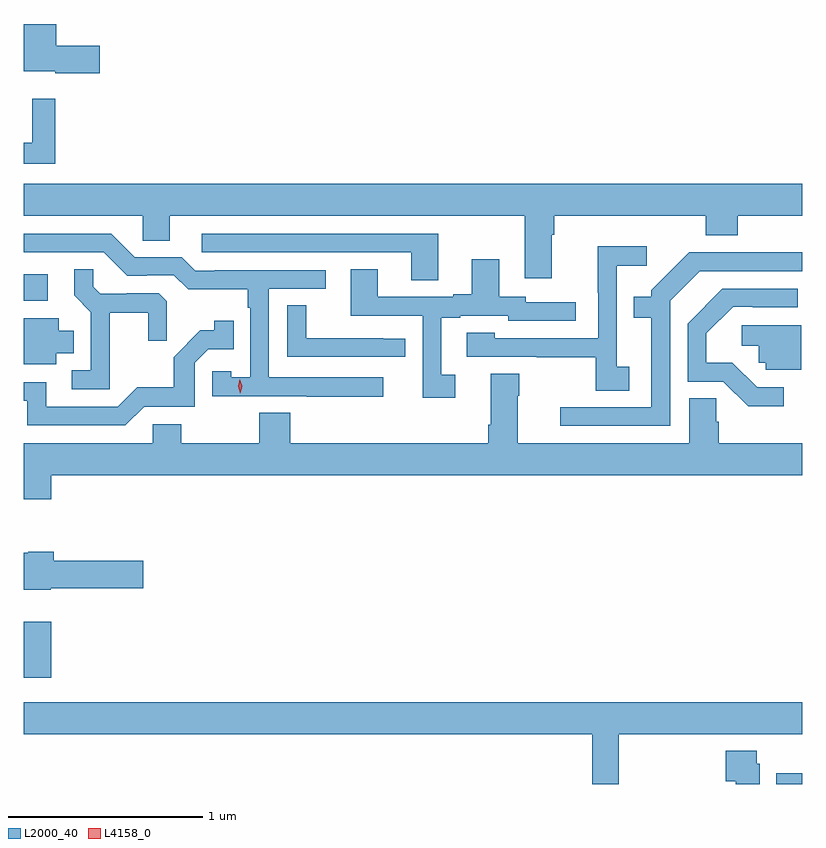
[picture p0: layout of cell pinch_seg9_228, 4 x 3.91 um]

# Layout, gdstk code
import gdstk
lib = gdstk.Library(unit=1e-6, precision=1e-09)
def R(c, l, rs):  # rectangles x0, y0, x1, y1
    for r in rs: c.add(gdstk.rectangle(r[:2], r[2:], *l))
def P(c, l, *ps):  # polygons
    for p in ps: c.add(gdstk.Polygon(p, *l))
L2000_40 = (2000, 40)
L4158_0 = (4158, 0)

pinch_seg9_228 = lib.new_cell('pinch_seg9_228')
R(pinch_seg9_228, L2000_40, [(437.828,1225.469,437.962,1225.525), (433.962,1226.016,434.102,1226.302), (433.962,1227.951,434.086,1228.087)])
P(pinch_seg9_228, L2000_40, [(434.353,1229.262),(434.128,1229.262),(434.128,1229.374),(433.962,1229.374),(433.962,1229.132),(434.124,1229.132),(434.124,1229.12),(434.353,1229.12)],
  [(434.123,1228.99),(434.006,1228.99),(434.006,1228.765),(433.962,1228.765),(433.962,1228.656),(434.123,1228.656)],
  [(436.675,1228.292),(436.688,1228.292),(436.688,1228.388),(437.465,1228.388),(437.465,1228.289),(437.63,1228.289),(437.63,1228.388),(437.962,1228.388),(437.962,1228.552),(433.962,1228.552),(433.962,1228.388),(434.574,1228.388),(434.574,1228.261),(434.713,1228.261),(434.713,1228.388),(436.535,1228.388),(436.535,1228.068),(436.675,1228.068)],
  [(436.093,1228.296),(434.877,1228.296),(434.877,1228.2),(435.953,1228.2),(435.953,1228.057),(436.093,1228.057)],
  [(435.808,1227.558),(435.222,1227.558),(435.222,1228.014),(435.514,1228.014),(435.514,1228.11),(434.944,1228.11),(434.944,1228.107),(434.844,1228.107),(434.775,1228.176),(434.532,1228.176),(434.412,1228.296),(433.962,1228.296),(433.962,1228.2),(434.373,1228.2),(434.493,1228.08),(434.594,1228.08),(434.594,1228.083),(434.733,1228.083),(434.806,1228.01),(435.114,1228.01),(435.114,1227.917),(435.126,1227.917),(435.126,1227.559),(435.027,1227.559),(435.027,1227.591),(434.931,1227.591),(434.931,1227.462),(435.415,1227.462),(435.415,1227.46),(435.808,1227.46)],
  [(437.074,1227.612),(437.01,1227.612),(437.01,1228.133),(437.164,1228.133),(437.164,1228.231),(436.912,1228.231),(436.912,1227.992),(436.914,1227.992),(436.914,1227.759),(436.383,1227.759),(436.383,1227.787),(436.239,1227.787),(436.239,1227.663),(436.597,1227.663),(436.597,1227.661),(436.902,1227.661),(436.902,1227.49),(437.074,1227.49)],
  [(437.283,1227.951),(437.436,1228.104),(437.962,1228.104),(437.962,1228.202),(437.713,1228.202),(437.713,1228.2),(437.382,1228.2),(437.187,1228.005),(437.187,1227.973),(437.095,1227.973),(437.095,1227.864),(437.186,1227.864),(437.186,1227.405),(436.719,1227.405),(436.719,1227.309),(437.283,1227.309)],
  [(436.18,1227.573),(436.108,1227.573),(436.108,1227.864),(436.204,1227.864),(436.204,1227.876),(436.452,1227.876),(436.452,1227.849),(436.798,1227.849),(436.798,1227.945),(436.542,1227.945),(436.542,1227.972),(436.405,1227.972),(436.405,1228.165),(436.265,1228.165),(436.265,1227.985),(436.169,1227.985),(436.169,1227.972),(435.781,1227.972),(435.781,1228.115),(435.641,1228.115),(435.641,1227.876),(436.011,1227.876),(436.011,1227.453),(436.18,1227.453)],
  [(434.405,1227.89),(434.602,1227.89),(434.602,1227.747),(434.696,1227.747),(434.696,1227.949),(434.655,1227.99),(434.49,1227.99),(434.49,1227.987),(434.356,1227.987),(434.319,1228.024),(434.319,1228.115),(434.221,1228.115),(434.221,1227.979),(434.307,1227.893),(434.307,1227.594),(434.208,1227.594),(434.208,1227.498),(434.405,1227.498)],
  [(437.866,1227.507),(437.73,1227.507),(437.603,1227.634),(437.47,1227.634),(437.47,1227.784),(437.607,1227.921),(437.707,1227.921),(437.707,1227.918),(437.938,1227.918),(437.938,1228.014),(437.552,1228.014),(437.373,1227.835),(437.373,1227.537),(437.556,1227.537),(437.684,1227.41),(437.866,1227.41)],
  [(435.922,1227.758),(435.809,1227.758),(435.809,1227.759),(435.414,1227.759),(435.414,1227.929),(435.315,1227.929),(435.315,1227.663),(435.922,1227.663)],
  [(434.128,1227.683),(434.218,1227.683),(434.218,1227.799),(434.143,1227.799),(434.143,1227.862),(433.962,1227.862),(433.962,1227.626),(434.128,1227.626)],
  [(434.58,1227.408),(434.841,1227.408),(434.841,1227.633),(434.91,1227.702),(435.041,1227.702),(435.041,1227.85),(434.94,1227.85),(434.94,1227.8),(434.87,1227.8),(434.733,1227.662),(434.733,1227.507),(434.544,1227.507),(434.445,1227.408),(434.077,1227.408),(434.077,1227.534),(433.962,1227.534),(433.962,1227.438),(433.979,1227.438),(433.979,1227.312),(434.484,1227.312)],
  [(437.956,1227.825),(437.652,1227.825),(437.652,1227.722),(437.739,1227.722),(437.739,1227.633),(437.775,1227.633),(437.775,1227.597),(437.956,1227.597)],
  [(434.102,1227.056),(437.962,1227.056),(437.962,1227.22),(437.534,1227.22),(437.534,1227.33),(437.519,1227.33),(437.519,1227.452),(437.381,1227.452),(437.381,1227.22),(436.501,1227.22),(436.501,1227.464),(436.509,1227.464),(436.509,1227.577),(436.361,1227.577),(436.361,1227.316),(436.349,1227.316),(436.349,1227.22),(435.332,1227.22),(435.332,1227.377),(435.172,1227.377),(435.172,1227.22),(434.772,1227.22),(434.772,1227.318),(434.625,1227.318),(434.625,1227.22),(433.962,1227.22),(433.962,1226.932),(434.102,1226.932)],
  [(434.1,1226.474),(434.575,1226.474),(434.575,1226.616),(434.117,1226.616),(434.117,1226.662),(433.986,1226.662),(433.986,1226.656),(433.962,1226.656),(433.962,1226.468),(434.1,1226.468)],
  [(437.018,1225.724),(437.962,1225.724),(437.962,1225.888),(433.962,1225.888),(433.962,1225.724),(436.882,1225.724),(436.882,1225.469),(437.018,1225.469)],
  [(437.743,1225.572),(437.727,1225.572),(437.727,1225.639),(437.57,1225.639),(437.57,1225.483),(437.621,1225.483),(437.621,1225.469),(437.743,1225.469)])
P(pinch_seg9_228, L4158_0, [(435.074,1227.477),(435.074,1227.477),(435.064,1227.513),(435.073,1227.549),(435.073,1227.549),(435.073,1227.549),(435.084,1227.513),(435.075,1227.477)])

lib.write_gds('pinch_seg9_228.gds')
